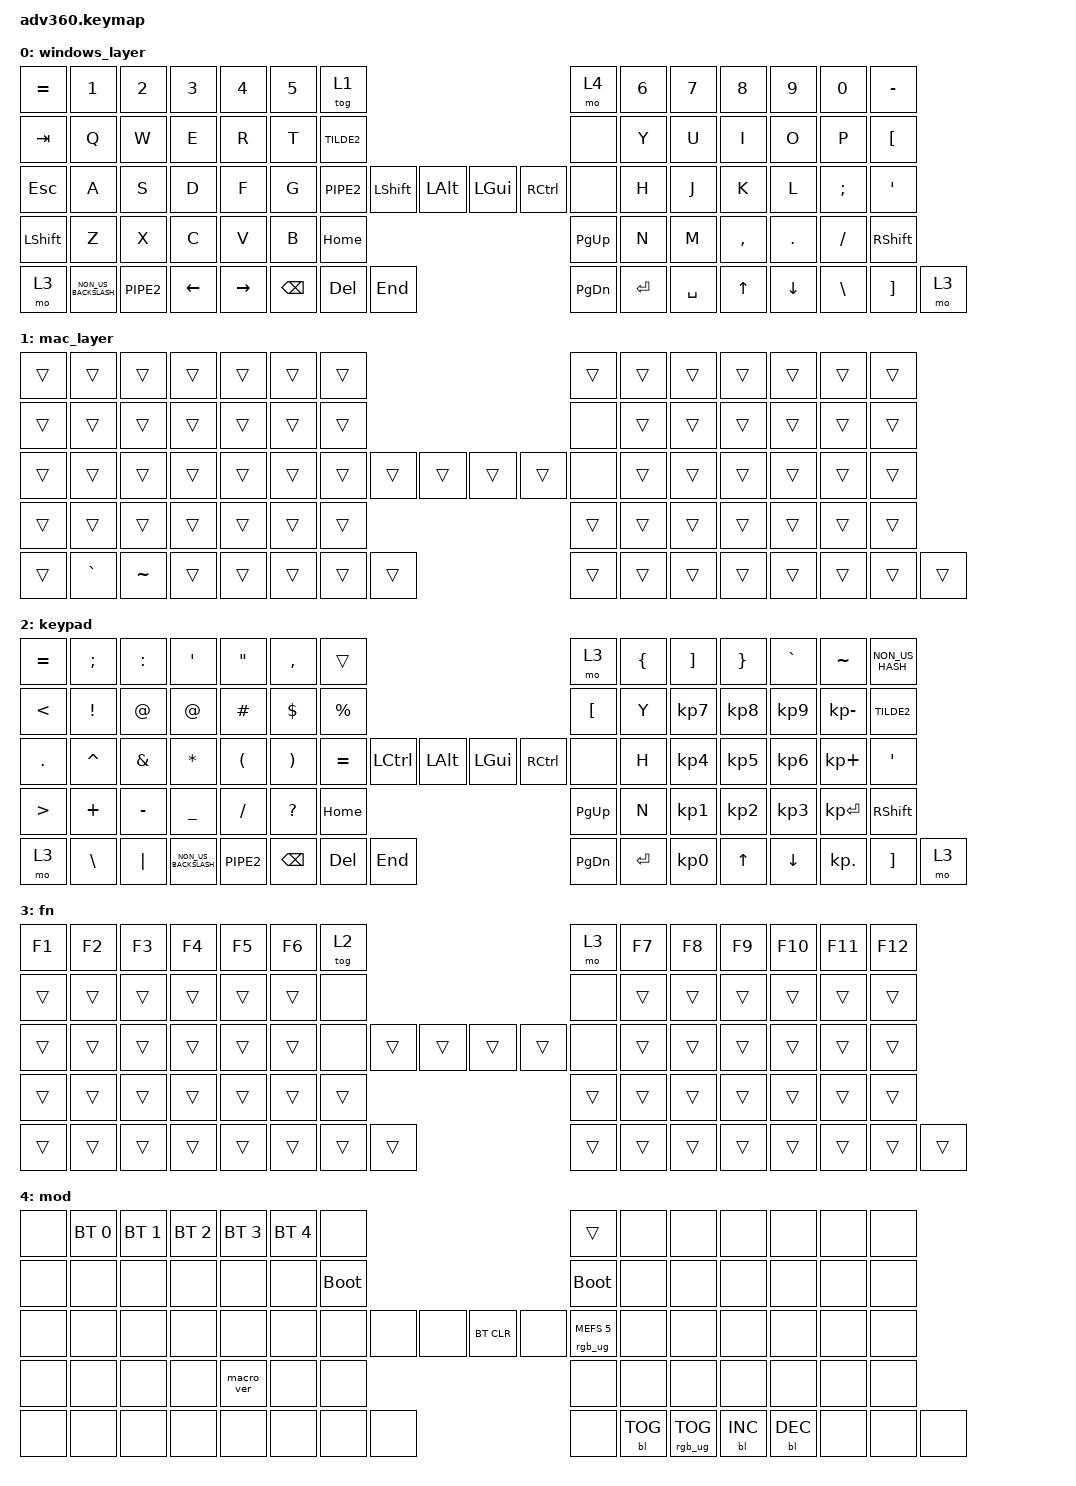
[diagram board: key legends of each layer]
#include <behaviors.dtsi>
#include <dt-bindings/zmk/keys.h>
#include <dt-bindings/zmk/bt.h>
#include <dt-bindings/zmk/rgb.h>
#include <dt-bindings/zmk/backlight.h>

/ {
    behaviors {
      #include "macros.dtsi"
      #include "version.dtsi"
      #ifndef VERSION_MACRO
      macro_ver: macro_ver {
        compatible = "zmk,behavior-macro";
        label = "macro_version";
        #binding-cells = <0>;
        bindings = <&kp RET>;
      };
      #endif

      hm: homerow_mods {
          compatible = "zmk,behavior-hold-tap";
          label = "HOMEROW_MODS";
          #binding-cells = <2>;
          tapping-term-ms = <200>;
          quick_tap_ms = <175>;
          flavor = "tap-preferred";
          bindings = <&kp>, <&kp>;
      };
    };
  keymap {
    compatible = "zmk,keymap";

    windows_layer {
      bindings = <
        &kp EQUAL &kp N1    &kp N2   &kp N3   &kp N4     &kp N5 &tog 1                                                           &mo 4 &kp N6 &kp N7 &kp N8    &kp N9   &kp N0   &kp MINUS
        &kp TAB   &kp Q     &kp W    &kp E    &kp R      &kp T  &kp  TILDE2                                                           &none &kp Y  &kp U  &kp I     &kp O    &kp P    &kp LBKT
        &kp ESC   &kp A     &kp S    &kp D    &kp F      &kp G  &kp PIPE2           &kp LSHFT &kp LALT &kp LGUI  &kp RCTRL           &none &kp H  &kp J  &kp K     &kp L    &kp SEMI &kp SQT
        &kp LSHFT &kp Z     &kp X    &kp C    &kp V      &kp B                            &kp HOME &kp PG_UP                           &kp N  &kp M  &kp COMMA &kp DOT  &kp FSLH &kp RSHFT
        &mo 3     &kp NON_US_BACKSLASH &kp PIPE2 &kp LEFT &kp RIGHT                &kp BSPC &kp DEL   &kp END  &kp PG_DN &kp ENTER &kp SPACE              &kp UP &kp DOWN  &kp BSLH &kp RBKT &mo 3
      >;
    };

    mac_layer {
      bindings = <
        &trans &trans &trans &trans &trans &trans &trans                                           &trans &trans &trans &trans &trans &trans &trans
        &trans &trans &trans &trans &trans &trans  &trans                                           &none &trans &trans &trans &trans  &trans  &trans
        &trans &trans &trans &trans &trans &trans  &trans        &trans &trans &trans &trans        &none &trans &trans &trans &trans  &trans  &trans
        &trans &trans &trans &trans &trans &trans                      &trans &trans                     &trans &trans &trans &trans  &trans  &trans
        &trans &kp GRAVE &kp TILDE &trans &trans               &trans &trans &trans &trans &trans &trans              &trans &trans &trans  &trans  &trans
      >;
    };

    keypad {
      bindings = <
        &kp EQUAL &kp SEMICOLON    &kp COLON   &kp SINGLE_QUOTE   &kp DOUBLE_QUOTES     &kp COMMA &trans                                                           &mo 3 &kp LEFT_BRACE &kp RIGHT_BRACKET &kp RIGHT_BRACE &kp GRAVE &kp TILDE &kp NON_US_HASH
        &kp LESS_THAN   &kp EXCLAMATION     &kp AT_SIGN    &kp AT_SIGN    &kp HASH      &kp DOLLAR  &kp PERCENT                                                           &kp LEFT_BRACKET &kp Y  &kp KP_N7  &kp KP_N8    &kp KP_N9     &kp KP_MINUS    &kp TILDE2
        &kp PERIOD   &kp CARET     &kp AMPERSAND    &kp ASTERISK    &kp LEFT_PARENTHESIS      &kp RIGHT_PARENTHESIS  &kp EQUAL           &kp LCTRL &kp LALT &kp LGUI  &kp RCTRL           &none &kp H  &kp KP_N4  &kp KP_N5    &kp KP_N6     &kp KP_PLUS     &kp SQT
        &kp GREATER_THAN &kp PLUS     &kp MINUS    &kp UNDERSCORE    &kp SLASH      &kp QUESTION                            &kp HOME &kp PG_UP                           &kp N  &kp KP_N1  &kp KP_N2    &kp KP_N3     &kp KP_ENTER    &kp RSHFT
        &mo 3     &kp BACKSLASH &kp PIPE &kp NON_US_BACKSLASH &kp PIPE2                &kp BSPC &kp DEL   &kp END  &kp PG_DN &kp ENTER &kp KP_N0              &kp UP     &kp DOWN     &kp KP_DOT    &kp RBKT        &mo 3
      >;
    };
    fn {
      bindings = <
        &kp F1 &kp F2 &kp F3 &kp F4 &kp F5 &kp F6 &tog 2                                           &mo 3 &kp F7 &kp F8 &kp F9 &kp F10 &kp F11 &kp F12
        &trans &trans &trans &trans &trans &trans  &none                                           &none &trans &trans &trans &trans  &trans  &trans
        &trans &trans &trans &trans &trans &trans  &none        &trans &trans &trans &trans        &none &trans &trans &trans &trans  &trans  &trans
        &trans &trans &trans &trans &trans &trans                      &trans &trans                     &trans &trans &trans &trans  &trans  &trans
        &trans &trans &trans &trans &trans               &trans &trans &trans &trans &trans &trans              &trans &trans &trans  &trans  &trans
      >;
    };
    mod {
      bindings = <
        &none &bt BT_SEL 0 &bt BT_SEL 1 &bt BT_SEL 2 &bt BT_SEL 3 &bt BT_SEL 4 &none                                                                     &trans                 &none        &none        &none        &none &none &none
        &none &none        &none        &none        &none        &none        &bootloader                                                               &bootloader            &none        &none        &none        &none &none &none
        &none &none        &none        &none        &none        &none        &none                   &none &none &bt BT_CLR &none                      &rgb_ug RGB_MEFS_CMD 5 &none        &none        &none        &none &none &none
        &none &none        &none        &none        &macro_ver   &none                                      &none &none                                                        &none        &none        &none        &none &none &none
        &none &none        &none        &none        &none                                       &none &none &none &none      &bl BL_TOG &rgb_ug RGB_TOG                                     &bl BL_INC   &bl BL_DEC   &none &none &none
      >;
    };
  };
};
